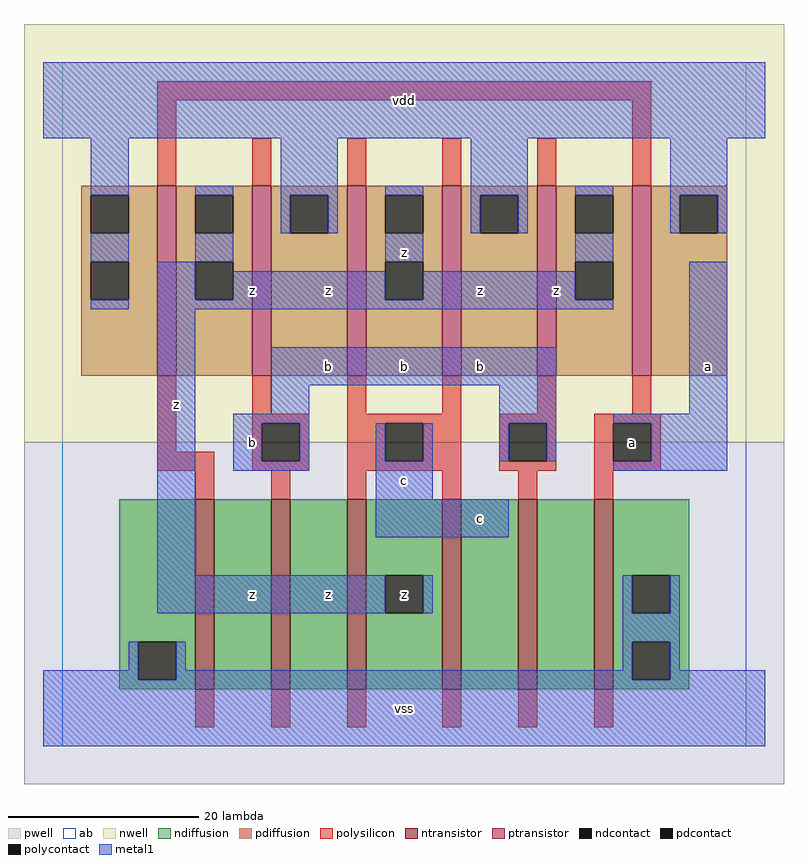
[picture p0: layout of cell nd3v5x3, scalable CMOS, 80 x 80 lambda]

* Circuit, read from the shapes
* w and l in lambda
.subckt nd3v5x3 a b c vdd vss z
M1 n1 a vss VSUBS nfet w=20 l=2
M2 n2 b n1 VSUBS nfet w=20 l=2
M3 z c n2 VSUBS nfet w=20 l=2
M4 n3 c z VSUBS nfet w=20 l=2
M5 n4 b n3 VSUBS nfet w=20 l=2
M6 vss a n4 VSUBS nfet w=20 l=2
M7 z a vdd n5 pfet w=20 l=2 m=2
M8 vdd b z n5 pfet w=20 l=2 m=2
M9 z c vdd n5 pfet w=20 l=2 m=2
.ends

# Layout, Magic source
magic
tech scmos
<< ab >>
rect 0 0 72 72
<< pwell >>
rect -4 -4 76 32
<< nwell >>
rect -4 32 76 76
<< polysilicon >>
rect 10 68 62 70
rect 10 59 12 68
rect 20 59 22 64
rect 30 59 32 64
rect 40 59 42 64
rect 50 59 52 64
rect 60 59 62 68
rect 10 31 12 39
rect 20 35 22 39
rect 30 35 32 39
rect 40 35 42 39
rect 50 35 52 39
rect 60 35 62 39
rect 20 34 26 35
rect 10 29 16 31
rect 20 30 21 34
rect 25 30 26 34
rect 20 29 26 30
rect 30 34 42 35
rect 30 30 34 34
rect 38 30 42 34
rect 30 29 42 30
rect 46 34 52 35
rect 46 30 47 34
rect 51 30 52 34
rect 46 29 52 30
rect 56 34 63 35
rect 56 30 58 34
rect 62 30 63 34
rect 56 29 63 30
rect 14 26 16 29
rect 22 26 24 29
rect 30 26 32 29
rect 40 26 42 29
rect 48 26 50 29
rect 56 26 58 29
rect 14 2 16 6
rect 22 2 24 6
rect 30 2 32 6
rect 40 2 42 6
rect 48 2 50 6
rect 56 2 58 6
<< ndiffusion >>
rect 6 11 14 26
rect 6 7 8 11
rect 12 7 14 11
rect 6 6 14 7
rect 16 6 22 26
rect 24 6 30 26
rect 32 18 40 26
rect 32 14 34 18
rect 38 14 40 18
rect 32 6 40 14
rect 42 6 48 26
rect 50 6 56 26
rect 58 18 66 26
rect 58 14 60 18
rect 64 14 66 18
rect 58 11 66 14
rect 58 7 60 11
rect 64 7 66 11
rect 58 6 66 7
<< pdiffusion >>
rect 2 58 10 59
rect 2 54 3 58
rect 7 54 10 58
rect 2 51 10 54
rect 2 47 3 51
rect 7 47 10 51
rect 2 39 10 47
rect 12 58 20 59
rect 12 54 14 58
rect 18 54 20 58
rect 12 51 20 54
rect 12 47 14 51
rect 18 47 20 51
rect 12 39 20 47
rect 22 58 30 59
rect 22 54 24 58
rect 28 54 30 58
rect 22 39 30 54
rect 32 58 40 59
rect 32 54 34 58
rect 38 54 40 58
rect 32 51 40 54
rect 32 47 34 51
rect 38 47 40 51
rect 32 39 40 47
rect 42 58 50 59
rect 42 54 44 58
rect 48 54 50 58
rect 42 39 50 54
rect 52 58 60 59
rect 52 54 54 58
rect 58 54 60 58
rect 52 51 60 54
rect 52 47 54 51
rect 58 47 60 51
rect 52 39 60 47
rect 62 58 70 59
rect 62 54 65 58
rect 69 54 70 58
rect 62 39 70 54
<< metal1 >>
rect -2 64 74 72
rect 3 58 7 64
rect 3 51 7 54
rect 14 58 18 59
rect 23 58 29 64
rect 23 54 24 58
rect 28 54 29 58
rect 34 58 38 59
rect 43 58 49 64
rect 43 54 44 58
rect 48 54 49 58
rect 54 58 58 59
rect 64 58 70 64
rect 64 54 65 58
rect 69 54 70 58
rect 14 51 18 54
rect 3 46 7 47
rect 10 47 14 51
rect 34 51 38 54
rect 18 47 34 50
rect 54 51 58 54
rect 38 47 54 50
rect 10 46 58 47
rect 10 18 14 46
rect 22 38 52 42
rect 22 35 26 38
rect 18 34 26 35
rect 46 34 52 38
rect 66 35 70 51
rect 18 30 21 34
rect 25 30 26 34
rect 18 29 26 30
rect 33 30 34 34
rect 38 30 39 34
rect 46 30 47 34
rect 51 30 52 34
rect 58 34 70 35
rect 62 30 70 34
rect 33 26 39 30
rect 58 29 70 30
rect 33 22 47 26
rect 10 14 34 18
rect 38 14 39 18
rect 59 14 60 18
rect 64 14 65 18
rect 59 11 65 14
rect 7 8 8 11
rect -2 7 8 8
rect 12 8 13 11
rect 59 8 60 11
rect 12 7 60 8
rect 64 8 65 11
rect 64 7 74 8
rect -2 0 74 7
<< ntransistor >>
rect 14 6 16 26
rect 22 6 24 26
rect 30 6 32 26
rect 40 6 42 26
rect 48 6 50 26
rect 56 6 58 26
<< ptransistor >>
rect 10 39 12 59
rect 20 39 22 59
rect 30 39 32 59
rect 40 39 42 59
rect 50 39 52 59
rect 60 39 62 59
<< polycontact >>
rect 21 30 25 34
rect 34 30 38 34
rect 47 30 51 34
rect 58 30 62 34
<< ndcontact >>
rect 8 7 12 11
rect 34 14 38 18
rect 60 14 64 18
rect 60 7 64 11
<< pdcontact >>
rect 3 54 7 58
rect 3 47 7 51
rect 14 54 18 58
rect 14 47 18 51
rect 24 54 28 58
rect 34 54 38 58
rect 34 47 38 51
rect 44 54 48 58
rect 54 54 58 58
rect 54 47 58 51
rect 65 54 69 58
<< labels >>
rlabel metal1 20 16 20 16 6 z
rlabel metal1 20 32 20 32 6 b
rlabel metal1 12 36 12 36 6 z
rlabel metal1 20 48 20 48 6 z
rlabel metal1 36 4 36 4 6 vss
rlabel ndcontact 36 16 36 16 6 z
rlabel metal1 28 16 28 16 6 z
rlabel metal1 36 28 36 28 6 c
rlabel metal1 28 40 28 40 6 b
rlabel metal1 36 40 36 40 6 b
rlabel metal1 28 48 28 48 6 z
rlabel metal1 36 52 36 52 6 z
rlabel metal1 36 68 36 68 6 vdd
rlabel metal1 44 24 44 24 6 c
rlabel metal1 44 40 44 40 6 b
rlabel metal1 44 48 44 48 6 z
rlabel metal1 52 48 52 48 6 z
rlabel polycontact 60 32 60 32 6 a
rlabel metal1 68 40 68 40 6 a
<< end >>
